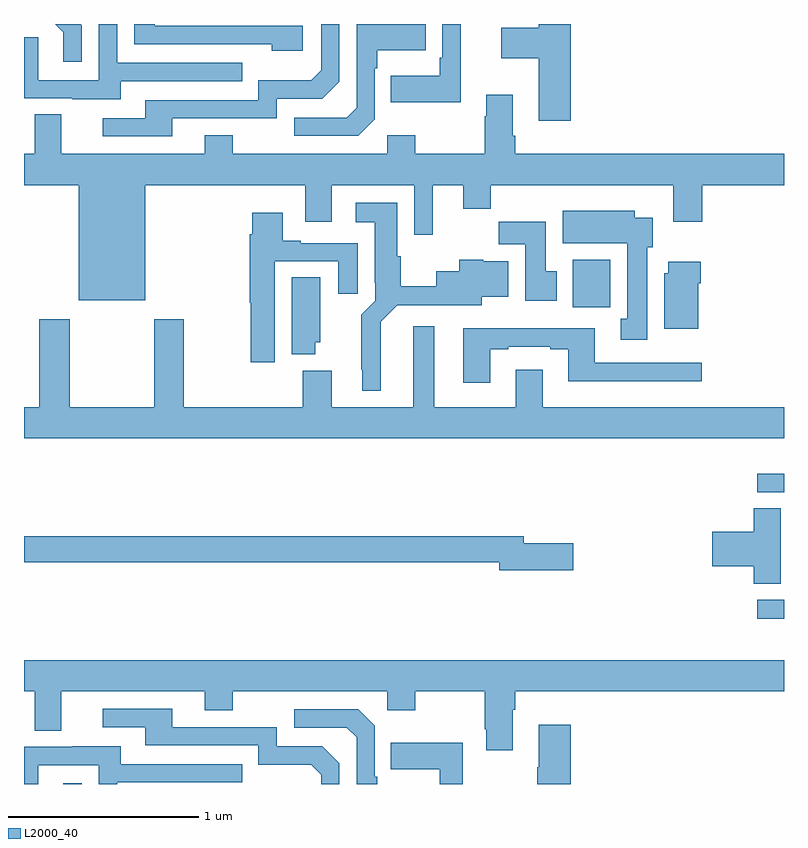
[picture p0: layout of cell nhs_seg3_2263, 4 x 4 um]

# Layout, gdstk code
import gdstk
lib = gdstk.Library(unit=1e-6, precision=1e-09)
def R(c, l, rs):  # rectangles x0, y0, x1, y1
    for r in rs: c.add(gdstk.rectangle(r[:2], r[2:], *l))
def P(c, l, *ps):  # polygons
    for p in ps: c.add(gdstk.Polygon(p, *l))
L2000_40 = (2000, 40)

nhs_seg3_2263 = lib.new_cell('nhs_seg3_2263')
R(nhs_seg3_2263, L2000_40, [(227.207,728.4,227.304,728.404), (230.859,729.271,231,729.369), (230.859,729.936,231,730.032), (229.889,730.908,230.085,731.158)])
P(nhs_seg3_2263, L2000_40, [(227.304,732.394),(227.298,732.4),(227.164,732.4),(227.207,732.357),(227.207,732.201),(227.304,732.201)],
  [(228.846,731.898),(228.846,732.167),(228.859,732.167),(228.859,732.263),(229.115,732.263),(229.115,732.4),(228.75,732.4),(228.75,731.958),(228.699,731.907),(228.423,731.907),(228.423,731.811),(228.759,731.811)],
  [(229.877,732.4),(229.709,732.4),(229.709,732.379),(229.512,732.379),(229.512,732.221),(229.709,732.221),(229.709,731.892),(229.877,731.892)],
  [(229.298,732.4),(229.2,732.4),(229.2,732.223),(229.188,732.223),(229.188,732.127),(228.931,732.127),(228.931,731.987),(229.298,731.987)],
  [(228.466,732.39),(227.689,732.39),(227.689,732.4),(227.58,732.4),(227.58,732.294),(228.305,732.294),(228.305,732.26),(228.466,732.26)],
  [(227.779,731.904),(228.33,731.904),(228.33,732.006),(228.57,732.006),(228.66,732.096),(228.66,732.4),(228.564,732.4),(228.564,732.156),(228.511,732.103),(228.234,732.103),(228.234,732),(227.639,732),(227.639,731.904),(227.415,731.904),(227.415,731.808),(227.779,731.808)],
  [(227.509,732.099),(228.149,732.099),(228.149,732.195),(227.49,732.195),(227.49,732.4),(227.394,732.4),(227.394,732.105),(227.076,732.105),(227.076,732.329),(227,732.329),(227,732.009),(227.255,732.009),(227.255,732.005),(227.509,732.005)],
  [(227.638,731.552),(228.479,731.552),(228.479,731.358),(228.619,731.358),(228.619,731.552),(229.053,731.552),(229.053,731.292),(229.15,731.292),(229.15,731.552),(229.313,731.552),(229.313,731.428),(229.457,731.428),(229.457,731.552),(230.417,731.552),(230.417,731.358),(230.57,731.358),(230.57,731.552),(231,731.552),(231,731.716),(229.586,731.716),(229.586,731.812),(229.573,731.812),(229.573,732.028),(229.433,732.028),(229.433,731.915),(229.426,731.915),(229.426,731.716),(229.059,731.716),(229.059,731.815),(228.912,731.815),(228.912,731.716),(228.099,731.716),(228.099,731.815),(227.951,731.815),(227.951,731.716),(227.197,731.716),(227.197,731.924),(227.057,731.924),(227.057,731.716),(227,731.716),(227,731.552),(227.288,731.552),(227.288,730.946),(227.638,730.946)],
  [(228.877,730.832),(228.964,730.92),(229.408,730.92),(229.408,730.964),(229.549,730.964),(229.549,731.152),(229.416,731.152),(229.416,731.158),(229.291,731.158),(229.291,731.098),(229.169,731.098),(229.169,731.021),(228.982,731.021),(228.982,731.178),(228.964,731.178),(228.964,731.458),(228.747,731.458),(228.747,731.357),(228.845,731.357),(228.845,731.038),(228.849,731.038),(228.849,730.944),(228.775,730.87),(228.775,730.579),(228.779,730.579),(228.779,730.469),(228.877,730.469)],
  [(230.281,731.226),(230.308,731.226),(230.308,731.38),(230.215,731.38),(230.215,731.416),(229.835,731.416),(229.835,731.246),(230.174,731.246),(230.174,730.849),(230.141,730.849),(230.141,730.737),(230.281,730.737)],
  [(228.319,731.151),(228.653,731.151),(228.653,730.98),(228.757,730.98),(228.757,731.247),(228.457,731.247),(228.457,731.26),(228.361,731.26),(228.361,731.407),(228.2,731.407),(228.2,731.294),(228.188,731.294),(228.188,730.932),(228.193,730.932),(228.193,730.62),(228.319,730.62)],
  [(229.804,731.1),(229.747,731.1),(229.747,731.358),(229.498,731.358),(229.498,731.24),(229.637,731.24),(229.637,730.944),(229.804,730.944)],
  [(230.548,731.036),(230.561,731.036),(230.561,731.149),(230.39,731.149),(230.39,731.088),(230.369,731.088),(230.369,730.796),(230.548,730.796)],
  [(228.532,730.725),(228.559,730.725),(228.559,731.066),(228.41,731.066),(228.41,730.661),(228.532,730.661)],
  [(227.081,730.846),(227.081,730.384),(227,730.384),(227,730.22),(231,730.22),(231,730.384),(229.729,730.384),(229.729,730.579),(229.589,730.579),(229.589,730.384),(229.159,730.384),(229.159,730.81),(229.049,730.81),(229.049,730.384),(228.619,730.384),(228.619,730.576),(228.467,730.576),(228.467,730.384),(227.841,730.384),(227.841,730.846),(227.686,730.846),(227.686,730.384),(227.241,730.384),(227.241,730.846)],
  [(229.453,730.689),(229.549,730.689),(229.549,730.701),(229.769,730.701),(229.769,730.689),(229.865,730.689),(229.865,730.52),(230.566,730.52),(230.566,730.617),(230.005,730.617),(230.005,730.798),(229.313,730.798),(229.313,730.512),(229.453,730.512)],
  [(230.983,729.851),(230.84,729.851),(230.84,729.728),(230.622,729.728),(230.622,729.545),(230.84,729.545),(230.84,729.454),(230.983,729.454)],
  [(229.891,729.668),(229.63,729.668),(229.63,729.704),(227,729.704),(227,729.568),(229.502,729.568),(229.502,729.526),(229.891,729.526)],
  [(229.573,728.792),(229.586,728.792),(229.586,728.888),(231,728.888),(231,729.052),(227,729.052),(227,728.888),(227.057,728.888),(227.057,728.68),(227.197,728.68),(227.197,728.888),(227.951,728.888),(227.951,728.789),(228.099,728.789),(228.099,728.888),(228.912,728.888),(228.912,728.789),(229.059,728.789),(229.059,728.888),(229.426,728.888),(229.426,728.689),(229.433,728.689),(229.433,728.577),(229.573,728.577)],
  [(228.66,728.508),(228.57,728.598),(228.33,728.598),(228.33,728.7),(227.779,728.7),(227.779,728.796),(227.415,728.796),(227.415,728.7),(227.639,728.7),(227.639,728.604),(228.234,728.604),(228.234,728.501),(228.511,728.501),(228.564,728.448),(228.564,728.4),(228.66,728.4)],
  [(228.859,728.437),(228.846,728.437),(228.846,728.706),(228.759,728.793),(228.423,728.793),(228.423,728.697),(228.699,728.697),(228.75,728.646),(228.75,728.4),(228.859,728.4)],
  [(229.877,728.713),(229.709,728.713),(229.709,728.489),(229.702,728.489),(229.702,728.4),(229.877,728.4)],
  [(229.309,728.617),(228.931,728.617),(228.931,728.477),(229.188,728.477),(229.188,728.4),(229.309,728.4)],
  [(227.076,728.499),(227.394,728.499),(227.394,728.4),(227.49,728.4),(227.49,728.409),(228.149,728.409),(228.149,728.505),(227.509,728.505),(227.509,728.599),(227.255,728.599),(227.255,728.595),(227,728.595),(227,728.4),(227.076,728.4)])

lib.write_gds('nhs_seg3_2263.gds')
